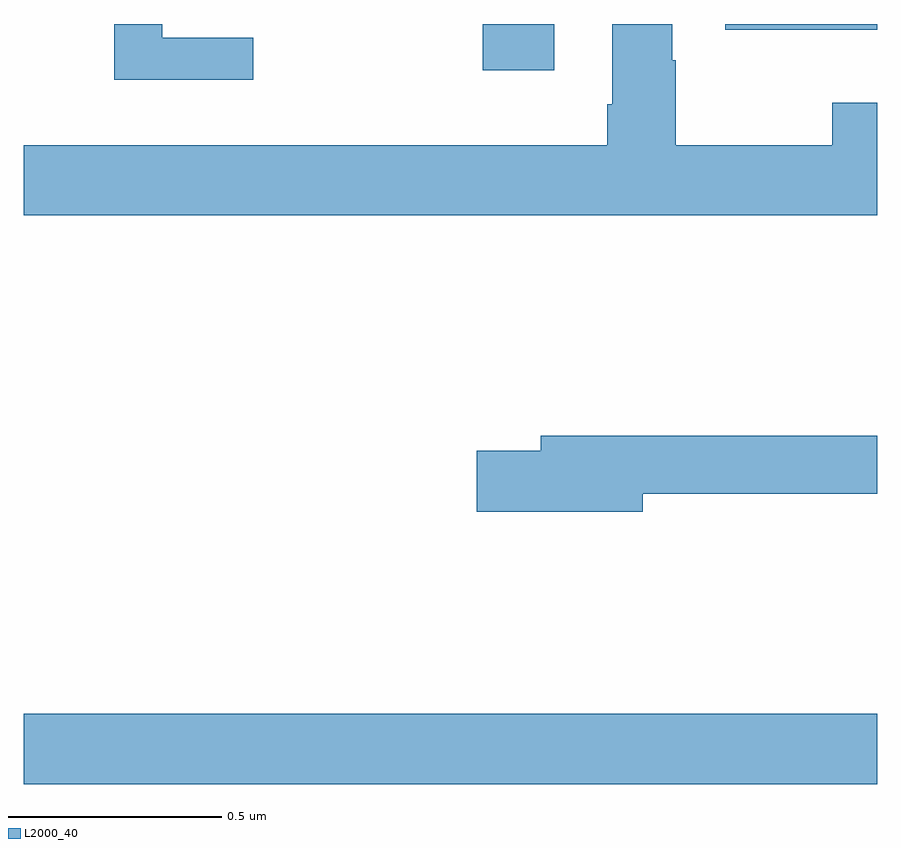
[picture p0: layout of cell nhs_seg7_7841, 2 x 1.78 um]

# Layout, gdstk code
import gdstk
lib = gdstk.Library(unit=1e-6, precision=1e-09)
def R(c, l, rs):  # rectangles x0, y0, x1, y1
    for r in rs: c.add(gdstk.rectangle(r[:2], r[2:], *l))
def P(c, l, *ps):  # polygons
    for p in ps: c.add(gdstk.Polygon(p, *l))
L2000_40 = (2000, 40)

nhs_seg7_7841 = lib.new_cell('nhs_seg7_7841')
R(nhs_seg7_7841, L2000_40, [(216,1063.22,218,1063.384), (217.076,1064.892,217.243,1065), (217.644,1064.987,218,1065)])
P(nhs_seg7_7841, L2000_40, [(218,1064.815),(217.894,1064.815),(217.894,1064.716),(217.527,1064.716),(217.527,1064.915),(217.519,1064.915),(217.519,1065),(217.379,1065),(217.379,1064.812),(217.367,1064.812),(217.367,1064.716),(216,1064.716),(216,1064.552),(218,1064.552)],
  [(216.538,1064.968),(216.325,1064.968),(216.325,1065),(216.213,1065),(216.213,1064.87),(216.538,1064.87)],
  [(217.45,1063.9),(218,1063.9),(218,1064.036),(217.211,1064.036),(217.211,1064),(217.062,1064),(217.062,1063.858),(217.45,1063.858)])

lib.write_gds('nhs_seg7_7841.gds')
